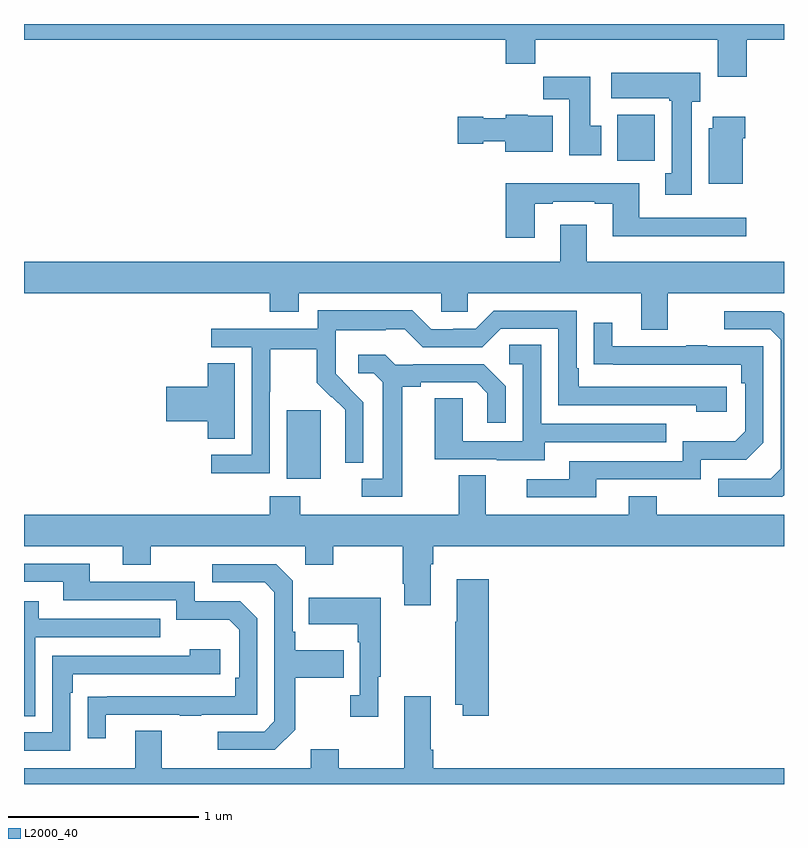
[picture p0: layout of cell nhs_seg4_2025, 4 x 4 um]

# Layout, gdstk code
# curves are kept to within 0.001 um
import gdstk
lib = gdstk.Library(unit=1e-6, precision=1e-09)
def R(c, l, rs):  # rectangles x0, y0, x1, y1
    for r in rs: c.add(gdstk.rectangle(r[:2], r[2:], *l))
def P(c, l, *ps):  # polygons
    for p in ps: c.add(gdstk.Polygon(p, *l))
L2000_40 = (2000, 40)

nhs_seg4_2025 = lib.new_cell('nhs_seg4_2025')
R(nhs_seg4_2025, L2000_40, [(216.383,798.506,216.562,798.867), (218.123,800.18,218.32,800.422)])
P(nhs_seg4_2025, L2000_40, [(215,800.816),(217.535,800.816),(217.535,800.692),(217.691,800.692),(217.691,800.816),(218.651,800.816),(218.651,800.622),(218.804,800.622),(218.804,800.816),(219,800.816),(219,800.9),(215,800.9)],
  [(218.515,800.49),(218.56,800.49),(218.56,800.644),(218.091,800.644),(218.091,800.51),(218.395,800.51),(218.395,800.497),(218.408,800.497),(218.408,800.114),(218.375,800.114),(218.375,800.001),(218.515,800.001)],
  [(218.038,800.364),(217.981,800.364),(217.981,800.623),(217.732,800.623),(217.732,800.504),(217.871,800.504),(217.871,800.208),(218.038,800.208)],
  [(217.783,800.416),(217.65,800.416),(217.65,800.422),(217.536,800.422),(217.536,800.404),(217.416,800.404),(217.416,800.412),(217.284,800.412),(217.284,800.27),(217.416,800.27),(217.416,800.282),(217.532,800.282),(217.532,800.228),(217.783,800.228)],
  [(218.782,800.3),(218.795,800.3),(218.795,800.413),(218.624,800.413),(218.624,800.352),(218.603,800.352),(218.603,800.06),(218.782,800.06)],
  [(217.687,799.953),(217.783,799.953),(217.783,799.965),(218.003,799.965),(218.003,799.953),(218.099,799.953),(218.099,799.784),(218.8,799.784),(218.8,799.881),(218.239,799.881),(218.239,800.062),(217.535,800.062),(217.535,799.776),(217.687,799.776)],
  [(218.389,799.484),(219,799.484),(219,799.648),(217.963,799.648),(217.963,799.843),(217.823,799.843),(217.823,799.648),(215,799.648),(215,799.484),(216.293,799.484),(216.293,799.385),(216.445,799.385),(216.445,799.484),(217.197,799.484),(217.197,799.386),(217.335,799.386),(217.335,799.484),(218.249,799.484),(218.249,799.29),(218.389,799.29)],
  [(216.294,798.964),(216.297,798.964),(216.297,799.188),(216.541,799.188),(216.541,799.013),(216.618,798.936),(216.621,798.939),(216.692,798.869),(216.692,798.746),(216.69,798.746),(216.69,798.592),(216.786,798.592),(216.786,798.91),(216.64,799.058),(216.64,799.155),(216.642,799.155),(216.642,799.289),(216.905,799.289),(216.905,799.293),(217.005,799.293),(217.098,799.2),(217.413,799.2),(217.509,799.296),(217.812,799.296),(217.812,798.894),(218.537,798.894),(218.537,798.86),(218.698,798.86),(218.698,798.99),(217.921,798.99),(217.921,799.087),(217.908,799.087),(217.908,799.392),(217.473,799.392),(217.377,799.296),(217.259,799.296),(217.259,799.293),(217.143,799.293),(217.043,799.393),(216.546,799.393),(216.546,799.296),(215.985,799.296),(215.985,799.2),(216.198,799.2),(216.198,798.633),(215.985,798.633),(215.985,798.535),(216.294,798.535)],
  [(219,798.42),(219,799.374),(218.985,799.389),(218.685,799.389),(218.685,799.293),(218.928,799.293),(218.982,799.239),(218.982,798.558),(218.931,798.507),(218.655,798.507),(218.655,798.411),(218.991,798.411)],
  [(218.011,798.504),(218.562,798.504),(218.562,798.606),(218.802,798.606),(218.892,798.696),(218.892,799.203),(218.597,799.203),(218.597,799.208),(218.485,799.208),(218.485,799.203),(218.095,799.203),(218.095,799.327),(217.999,799.327),(217.999,799.108),(218.776,799.107),(218.776,799.01),(218.796,799.01),(218.796,798.756),(218.743,798.703),(218.466,798.703),(218.466,798.6),(217.871,798.6),(217.871,798.504),(217.647,798.504),(217.647,798.408),(218.011,798.408)],
  [(217.741,798.699),(218.381,798.699),(218.381,798.795),(217.722,798.795),(217.722,799.211),(217.554,799.211),(217.554,799.11),(217.626,799.11),(217.626,798.705),(217.308,798.705),(217.308,798.929),(217.163,798.929),(217.163,798.609),(217.487,798.609),(217.487,798.605),(217.741,798.605)],
  [(216.991,798.992),(217.087,798.992),(217.087,799.014),(217.382,799.014),(217.439,798.957),(217.439,798.801),(217.536,798.801),(217.536,798.994),(217.42,799.11),(217.048,799.11),(217.048,799.107),(216.954,799.107),(216.902,799.159),(216.759,799.159),(216.759,799.062),(216.84,799.062),(216.887,799.015),(216.887,798.507),(216.777,798.507),(216.777,798.411),(216.991,798.411)],
  [(216.109,799.115),(215.966,799.115),(215.966,798.992),(215.748,798.992),(215.748,798.809),(215.966,798.809),(215.966,798.718),(216.109,798.718)],
  [(217.141,798.056),(217.154,798.056),(217.154,798.152),(219,798.152),(219,798.316),(218.331,798.316),(218.331,798.415),(218.183,798.415),(218.183,798.316),(217.429,798.316),(217.429,798.524),(217.289,798.524),(217.289,798.316),(216.453,798.316),(216.453,798.415),(216.293,798.415),(216.293,798.316),(215,798.316),(215,798.152),(215.519,798.152),(215.519,798.053),(215.667,798.053),(215.667,798.152),(216.48,798.152),(216.48,798.053),(216.627,798.053),(216.627,798.152),(216.994,798.152),(216.994,797.953),(217.001,797.953),(217.001,797.841),(217.141,797.841)],
  [(215.431,797.265),(215.821,797.265),(215.821,797.26),(215.933,797.26),(215.933,797.265),(216.228,797.265),(216.228,797.772),(216.138,797.862),(215.898,797.862),(215.898,797.964),(215.347,797.964),(215.347,798.06),(215,798.06),(215,797.964),(215.207,797.964),(215.207,797.868),(215.802,797.868),(215.802,797.765),(216.079,797.765),(216.132,797.712),(216.132,797.458),(216.112,797.458),(216.112,797.361),(215.335,797.36),(215.335,797.142),(215.431,797.142)],
  [(216.427,797.185),(216.427,797.458),(216.683,797.458),(216.683,797.605),(216.427,797.605),(216.427,797.701),(216.414,797.701),(216.414,797.97),(216.327,798.057),(215.991,798.057),(215.991,797.961),(216.267,797.961),(216.318,797.91),(216.318,797.229),(216.264,797.175),(216.021,797.175),(216.021,797.079),(216.321,797.079)],
  [(217.445,797.977),(217.277,797.977),(217.277,797.753),(217.27,797.753),(217.27,797.318),(217.31,797.318),(217.31,797.259),(217.445,797.259)],
  [(216.865,797.465),(216.877,797.465),(216.877,797.881),(216.499,797.881),(216.499,797.741),(216.756,797.741),(216.756,797.645),(216.768,797.645),(216.768,797.366),(216.717,797.366),(216.717,797.253),(216.865,797.253)],
  [(215.058,797.673),(215.717,797.673),(215.717,797.769),(215.077,797.769),(215.077,797.863),(215,797.863),(215,797.257),(215.058,797.257)],
  [(215.244,797.381),(215.257,797.381),(215.257,797.478),(216.034,797.478),(216.034,797.608),(215.873,797.608),(215.873,797.574),(215.148,797.574),(215.148,797.172),(215,797.172),(215,797.076),(215.244,797.076)],
  [(219,796.984),(217.154,796.984),(217.154,797.08),(217.141,797.08),(217.141,797.362),(217.001,797.362),(217.001,796.984),(216.657,796.984),(216.657,797.083),(216.509,797.083),(216.509,796.984),(215.725,796.984),(215.725,797.179),(215.585,797.179),(215.585,796.984),(215,796.984),(215,796.9),(219,796.9)])

lib.write_gds('nhs_seg4_2025.gds')
